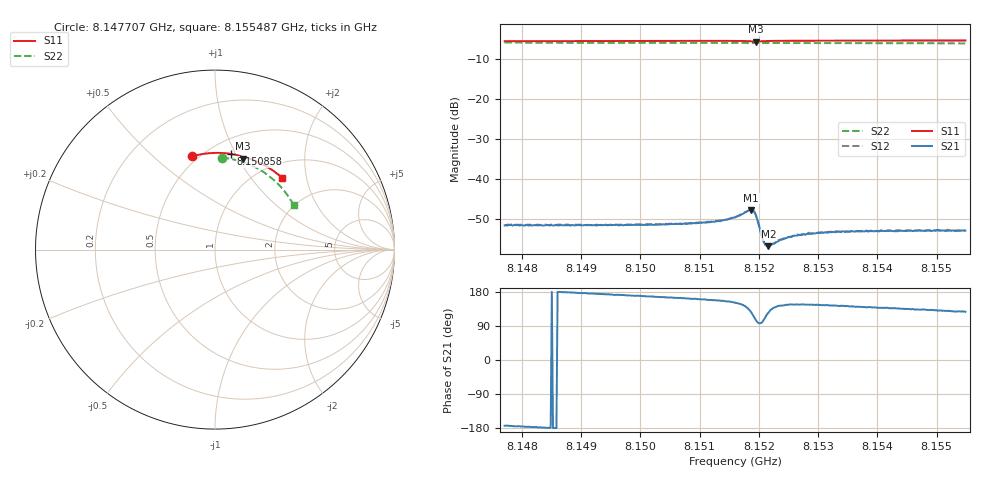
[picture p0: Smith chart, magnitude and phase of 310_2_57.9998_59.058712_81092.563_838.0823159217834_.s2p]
#  HZ  S  RI  R  50.00
! Rohde & Schwarz Vector Network Analyzer
! Rohde-Schwarz,ZNB20-2Port,1311601062101988,3.16
! Created: UTC 3/21/2024, 1:04:09 AM
! freq[Hz]  re:S11  im:S11  re:S21  im:S21  re:S12  im:S12  re:S22  im:S22
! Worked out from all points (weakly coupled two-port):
!   401 points, 8.147707 GHz to 8.155487 GHz, reference 50 ohm
!   highest |S21| = -47.76 dB at 8.15187 GHz (marker M1); lowest = -56.8 dB at 8.152161 GHz (marker M2)
!   lowest |S11| = -5.5 dB at 8.151947 GHz (marker M3), VSWR 3.25, Z = 37.2 + j52.4 ohm
!   |S11| at or under -10 dB: nowhere
!   |S22| runs from -6.0 to -5.8 dB; largest |S21 - S12| = 0.00012
!   S11 on the Smith chart (normalised r, x): 8.147707 GHz: 0.46, +0.67; 8.150858 GHz: 0.63, +0.96; 8.155487 GHz: 1.26, +1.45
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8.1477075e9  -0.1296 0.5195  -0.0026 -0.000302  -0.00264 -0.000259  0.0394 0.5126
8.1490106e9  -0.0401 0.5362  -0.00263 0.000145  -0.00266 0.000172  0.123 0.4977
8.1503137e9  0.0506 0.5375  -0.00262 0.000646  -0.00262 0.000675  0.2024 0.4692
8.1508583e9  0.0886 0.5333  -0.00262 0.000879  -0.00266 0.000915  0.234 0.4536
8.1513251e9  0.1214 0.5274  -0.00273 0.00118  -0.00277 0.00123  0.26 0.4384
8.1514807e9  0.1324 0.5245  -0.00281 0.00136  -0.00281 0.00142  0.2685 0.4331
8.1515974e9  0.141 0.5219  -0.00289 0.00158  -0.00293 0.00165  0.2746 0.4289
8.1518113e9  0.1564 0.5132  -0.00289 0.00273  -0.00287 0.00279  0.2859 0.421
8.1518697e9  0.1587 0.5092  -0.00243 0.00329  -0.0024 0.00337  0.2887 0.4188
8.1519086e9  0.1585 0.5067  -0.00177 0.00355  -0.00173 0.00362  0.2906 0.4171
8.1519475e9  0.1573 0.5059  -0.000974 0.00341  -0.000969 0.00346  0.2925 0.4158
8.1519864e9  0.1567 0.5072  -0.000404 0.00282  -0.000393 0.0029  0.2943 0.4145
8.1520447e9  0.1592 0.5102  -0.000282 0.00194  -0.000278 0.00198  0.2974 0.4124
8.1520836e9  0.1621 0.5116  -0.000463 0.00155  -0.000445 0.00158  0.2994 0.4109
8.1521225e9  0.1654 0.5123  -0.000643 0.00132  -0.000647 0.00132  0.3014 0.4094
8.1521614e9  0.1687 0.5123  -0.00082 0.00118  -0.000827 0.0012  0.3034 0.4079
8.1524531e9  0.191 0.5077  -0.0015 0.00102  -0.0015 0.00105  0.318 0.3961
8.152706e9  0.2083 0.5017  -0.00166 0.00111  -0.00167 0.00108  0.3303 0.3856
8.1529005e9  0.2211 0.4966  -0.00171 0.00116  -0.00171 0.0012  0.3393 0.3772
8.1534451e9  0.2556 0.4808  -0.00173 0.00133  -0.0017 0.00136  0.3637 0.3527
8.1542036e9  0.3013 0.4549  -0.00163 0.00154  -0.00165 0.00154  0.3943 0.3161
8.1554873e9  0.372 0.4014  -0.00136 0.0018  -0.00134 0.00181  0.4379 0.248
